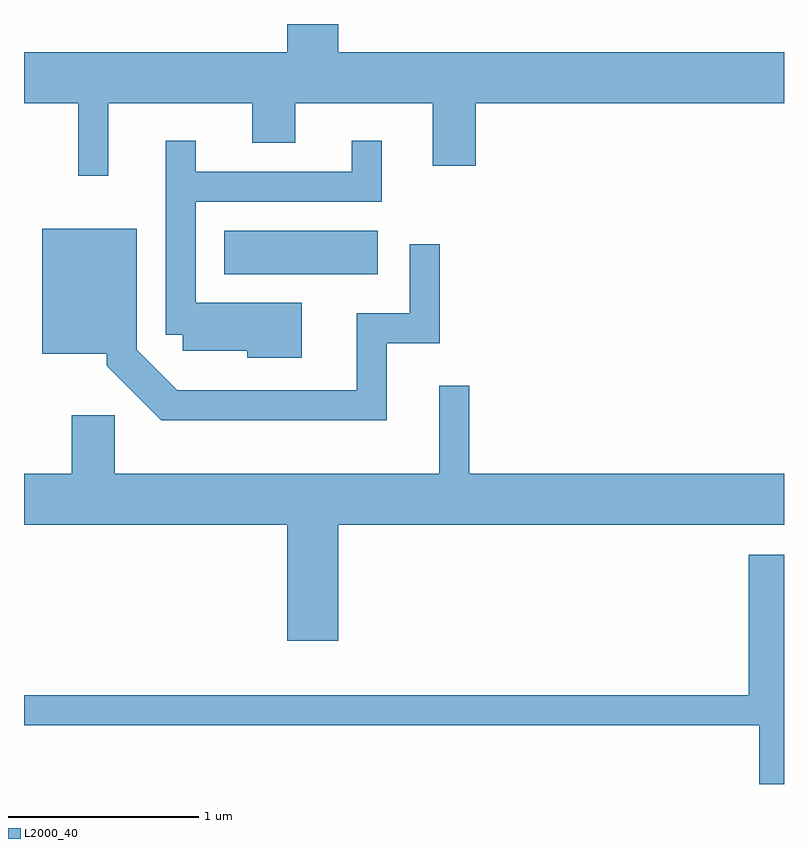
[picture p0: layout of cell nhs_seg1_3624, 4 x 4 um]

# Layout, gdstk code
import gdstk
lib = gdstk.Library(unit=1e-6, precision=1e-09)
def R(c, l, rs):  # rectangles x0, y0, x1, y1
    for r in rs: c.add(gdstk.rectangle(r[:2], r[2:], *l))
def P(c, l, *ps):  # polygons
    for p in ps: c.add(gdstk.Polygon(p, *l))
L2000_40 = (2000, 40)

nhs_seg1_3624 = lib.new_cell('nhs_seg1_3624')
R(nhs_seg1_3624, L2000_40, [(294.666,956.396,295.474,956.624)])
P(nhs_seg1_3624, L2000_40, [(294.054,957.296),(294.811,957.296),(294.811,957.086),(295.039,957.086),(295.039,957.296),(295.761,957.296),(295.761,956.966),(295.989,956.966),(295.989,957.296),(297.611,957.296),(297.611,957.564),(295.264,957.564),(295.264,957.712),(294.996,957.712),(294.996,957.564),(293.611,957.564),(293.611,957.296),(293.896,957.296),(293.896,956.913),(294.054,956.913)],
  [(295.074,956.244),(294.514,956.244),(294.514,956.776),(295.494,956.776),(295.494,957.098),(295.336,957.098),(295.336,956.934),(294.514,956.934),(294.514,957.098),(294.356,957.098),(294.356,956.076),(294.446,956.076),(294.446,955.991),(294.786,955.991),(294.786,955.956),(295.074,955.956)],
  [(295.519,956.031),(295.799,956.031),(295.799,956.553),(295.641,956.553),(295.641,956.189),(295.361,956.189),(295.361,955.784),(294.417,955.784),(294.204,955.997),(294.204,956.634),(293.706,956.634),(293.706,955.976),(294.046,955.976),(294.046,955.914),(294.334,955.626),(295.519,955.626)],
  [(295.264,955.076),(297.611,955.076),(297.611,955.344),(295.954,955.344),(295.954,955.808),(295.796,955.808),(295.796,955.344),(294.089,955.344),(294.089,955.654),(293.861,955.654),(293.861,955.344),(293.611,955.344),(293.611,955.076),(294.996,955.076),(294.996,954.466),(295.264,954.466)],
  [(297.611,954.919),(297.426,954.919),(297.426,954.179),(293.611,954.179),(293.611,954.021),(297.481,954.021),(297.481,953.712),(297.611,953.712)])

lib.write_gds('nhs_seg1_3624.gds')
